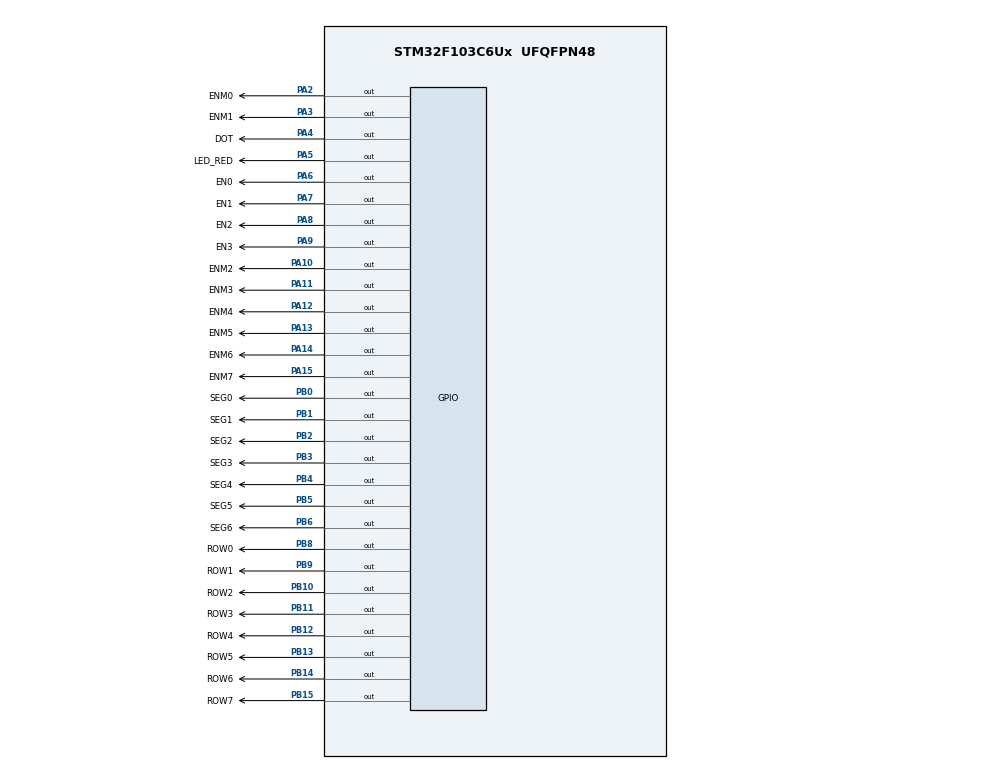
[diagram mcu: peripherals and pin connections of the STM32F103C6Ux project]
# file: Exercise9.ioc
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Mcu.Family=STM32F1
Mcu.Name=STM32F103C6Ux
Mcu.Package=UFQFPN48
NVIC.PriorityGroup=NVIC_PRIORITYGROUP_4
NVIC.TIM2_IRQn=true\:0\:0\:false\:false\:true\:true\:true
PA10.GPIO_Label=ENM2
PA10.Signal=GPIO_Output
PA11.GPIO_Label=ENM3
PA11.Signal=GPIO_Output
PA12.GPIO_Label=ENM4
PA12.Signal=GPIO_Output
PA13.GPIO_Label=ENM5
PA13.Signal=GPIO_Output
PA14.GPIO_Label=ENM6
PA14.Signal=GPIO_Output
PA15.GPIO_Label=ENM7
PA15.Signal=GPIO_Output
PA2.GPIO_Label=ENM0
PA2.Signal=GPIO_Output
PA3.GPIO_Label=ENM1
PA3.Signal=GPIO_Output
PA4.GPIO_Label=DOT
PA4.Signal=GPIO_Output
PA5.GPIO_Label=LED_RED
PA5.Signal=GPIO_Output
PA6.GPIO_Label=EN0
PA6.Signal=GPIO_Output
PA7.GPIO_Label=EN1
PA7.Signal=GPIO_Output
PA8.GPIO_Label=EN2
PA8.Signal=GPIO_Output
PA9.GPIO_Label=EN3
PA9.Signal=GPIO_Output
PB0.GPIO_Label=SEG0
PB0.Signal=GPIO_Output
PB1.GPIO_Label=SEG1
PB1.Signal=GPIO_Output
PB10.GPIO_Label=ROW2
PB10.Signal=GPIO_Output
PB11.GPIO_Label=ROW3
PB11.Signal=GPIO_Output
PB12.GPIO_Label=ROW4
PB12.Signal=GPIO_Output
PB13.GPIO_Label=ROW5
PB13.Signal=GPIO_Output
PB14.GPIO_Label=ROW6
PB14.Signal=GPIO_Output
PB15.GPIO_Label=ROW7
PB15.Signal=GPIO_Output
PB2.GPIO_Label=SEG2
PB2.Signal=GPIO_Output
PB3.GPIO_Label=SEG3
PB3.Signal=GPIO_Output
PB4.GPIO_Label=SEG4
PB4.Signal=GPIO_Output
PB5.GPIO_Label=SEG5
PB5.Signal=GPIO_Output
PB6.GPIO_Label=SEG6
PB6.Signal=GPIO_Output
PB8.GPIO_Label=ROW0
PB8.Signal=GPIO_Output
PB9.GPIO_Label=ROW1
PB9.Signal=GPIO_Output
ProjectManager.HeapSize=0x200
ProjectManager.StackSize=0x400
ProjectManager.TargetToolchain=STM32CubeIDE
RCC.APB1Freq_Value=8000000
RCC.APB2Freq_Value=8000000
TIM2.Period=9
TIM2.Prescaler=7999
VP_SYS_VS_ND.Mode=No_Debug
VP_TIM2_VS_ClockSourceINT.Mode=Internal
board=custom

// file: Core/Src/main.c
/* USER CODE BEGIN Header */
/**
  ******************************************************************************
  * @file           : main.c
  * @brief          : Main program body
  ******************************************************************************
  * @attention
  *
  * <h2><center>&copy; Copyright (c) 2025 STMicroelectronics.
  * All rights reserved.</center></h2>
  *
  * This software component is licensed by ST under BSD 3-Clause license,
  * the "License"; You may not use this file except in compliance with the
  * License. You may obtain a copy of the License at:
  *                        opensource.org/licenses/BSD-3-Clause
  *
  ******************************************************************************
  */
/* USER CODE END Header */
#include "main.h"

/* USER CODE BEGIN Includes */
#include "software_timer.h"
/* USER CODE END Includes */

TIM_HandleTypeDef htim2;

/* USER CODE BEGIN PV */
int segTable[10][7] = {
			{0,0,0,0,0,0,1},
			{1,0,0,1,1,1,1},
			{0,0,1,0,0,1,0},
			{0,0,0,0,1,1,0},
			{1,0,0,1,1,0,0},
			{0,1,0,0,1,0,0},
			{0,1,0,0,0,0,0},
			{0,0,0,1,1,1,1},
			{0,0,0,0,0,0,0},
			{0,0,0,0,1,0,0}
	};
const int MAX_LED = 4;
int index_led = 0;
int led_buffer[4] = {1 , 2 , 3 , 4};

const int MAX_LED_MATRIX = 8;
int index_led_matrix = 0;

uint8_t matrix_buffer[8] = {
  0x00, //00000000
  0x00, //01111100
  0x7C, //00010010
  0x12, //00010001
  0x11, //00010010
  0x12, //01111100
  0x7C, //00000000
  0x00  //00000000
};

//int scroll_offset = 0;

/* USER CODE END PV */

void SystemClock_Config(void);
static void MX_GPIO_Init(void);
static void MX_TIM2_Init(void);
/* USER CODE BEGIN PFP */
void display7SEG(int num);
void update7SEG (int index);
void updateClockBuffer(int hour, int minute);
void updateLEDMatrix (int index );
/* USER CODE END PFP */

int main(void)
{

  /* MCU Configuration--------------------------------------------------------*/

  /* Reset of all peripherals, Initializes the Flash interface and the Systick. */
  HAL_Init();

  /* Configure the system clock */
  SystemClock_Config();

  /* Initialize all configured peripherals */
  MX_GPIO_Init();
  MX_TIM2_Init();
  /* USER CODE BEGIN 2 */
  HAL_TIM_Base_Start_IT(&htim2);
  /* USER CODE END 2 */

  /* Infinite loop */
  /* USER CODE BEGIN WHILE */
  setTimer(0, 2);
  setTimer(1, 3);
  setTimer(2, 5);
  setTimer(3, 7);

  int hour = 15 , minute = 8 , second = 50;

  while (1)
  {
	if(isTimerExpired(0)){
		setTimer(0, 2);
		updateLEDMatrix(index_led_matrix);
		index_led_matrix = (index_led_matrix + 1) % MAX_LED_MATRIX;
	}

	if(isTimerExpired(1)){
		setTimer(1, 25);
		update7SEG(index_led);
		index_led = (index_led + 1) % MAX_LED;
	}

	if(isTimerExpired(2)){
		setTimer(2, 5);
		second ++;
		if ( second >= 60) {
				  second = 0;
				  minute ++;
			  }
			  if( minute >= 60) {
				  minute = 0;
				  hour ++;
			  }
			  if( hour >=24) {
			   	  hour = 0;
			  }
			  updateClockBuffer(hour, minute) ;
	}

	if(isTimerExpired(3)){
		setTimer(3, 100);
		HAL_GPIO_TogglePin(LED_RED_GPIO_Port, LED_RED_Pin);
		HAL_GPIO_TogglePin(DOT_GPIO_Port, DOT_Pin);
	}
    /* USER CODE END WHILE */

  }
}

void SystemClock_Config(void)
{
  RCC_OscInitTypeDef RCC_OscInitStruct = {0};
  RCC_ClkInitTypeDef RCC_ClkInitStruct = {0};

  /** Initializes the RCC Oscillators according to the specified parameters
  * in the RCC_OscInitTypeDef structure.
  */
  RCC_OscInitStruct.OscillatorType = RCC_OSCILLATORTYPE_HSI;
  RCC_OscInitStruct.HSIState = RCC_HSI_ON;
  RCC_OscInitStruct.HSICalibrationValue = RCC_HSICALIBRATION_DEFAULT;
  RCC_OscInitStruct.PLL.PLLState = RCC_PLL_NONE;
  if (HAL_RCC_OscConfig(&RCC_OscInitStruct) != HAL_OK)
  {
    Error_Handler();
  }
  /** Initializes the CPU, AHB and APB buses clocks
  */
  RCC_ClkInitStruct.ClockType = RCC_CLOCKTYPE_HCLK|RCC_CLOCKTYPE_SYSCLK
                              |RCC_CLOCKTYPE_PCLK1|RCC_CLOCKTYPE_PCLK2;
  RCC_ClkInitStruct.SYSCLKSource = RCC_SYSCLKSOURCE_HSI;
  RCC_ClkInitStruct.AHBCLKDivider = RCC_SYSCLK_DIV1;
  RCC_ClkInitStruct.APB1CLKDivider = RCC_HCLK_DIV1;
  RCC_ClkInitStruct.APB2CLKDivider = RCC_HCLK_DIV1;

  if (HAL_RCC_ClockConfig(&RCC_ClkInitStruct, FLASH_LATENCY_0) != HAL_OK)
  {
    Error_Handler();
  }
}

static void MX_TIM2_Init(void)
{

  TIM_ClockConfigTypeDef sClockSourceConfig = {0};
  TIM_MasterConfigTypeDef sMasterConfig = {0};

  htim2.Instance = TIM2;
  htim2.Init.Prescaler = 7999;
  htim2.Init.CounterMode = TIM_COUNTERMODE_UP;
  htim2.Init.Period = 9;
  htim2.Init.ClockDivision = TIM_CLOCKDIVISION_DIV1;
  htim2.Init.AutoReloadPreload = TIM_AUTORELOAD_PRELOAD_DISABLE;
  if (HAL_TIM_Base_Init(&htim2) != HAL_OK)
  {
    Error_Handler();
  }
  sClockSourceConfig.ClockSource = TIM_CLOCKSOURCE_INTERNAL;
  if (HAL_TIM_ConfigClockSource(&htim2, &sClockSourceConfig) != HAL_OK)
  {
    Error_Handler();
  }
  sMasterConfig.MasterOutputTrigger = TIM_TRGO_RESET;
  sMasterConfig.MasterSlaveMode = TIM_MASTERSLAVEMODE_DISABLE;
  if (HAL_TIMEx_MasterConfigSynchronization(&htim2, &sMasterConfig) != HAL_OK)
  {
    Error_Handler();
  }

}

static void MX_GPIO_Init(void)
{
  GPIO_InitTypeDef GPIO_InitStruct = {0};

  /* GPIO Ports Clock Enable */
  __HAL_RCC_GPIOA_CLK_ENABLE();
  __HAL_RCC_GPIOB_CLK_ENABLE();

  /*Configure GPIO pin Output Level */
  HAL_GPIO_WritePin(GPIOA, ENM0_Pin|ENM1_Pin|DOT_Pin|LED_RED_Pin
                          |EN0_Pin|EN1_Pin|EN2_Pin|EN3_Pin
                          |ENM2_Pin|ENM3_Pin|ENM4_Pin|ENM5_Pin
                          |ENM6_Pin|ENM7_Pin, GPIO_PIN_RESET);

  /*Configure GPIO pin Output Level */
  HAL_GPIO_WritePin(GPIOB, SEG0_Pin|SEG1_Pin|SEG2_Pin|ROW2_Pin
                          |ROW3_Pin|ROW4_Pin|ROW5_Pin|ROW6_Pin
                          |ROW7_Pin|SEG3_Pin|SEG4_Pin|SEG5_Pin
                          |SEG6_Pin|ROW0_Pin|ROW1_Pin, GPIO_PIN_RESET);

  /*Configure GPIO pins : ENM0_Pin ENM1_Pin DOT_Pin LED_RED_Pin
                           EN0_Pin EN1_Pin EN2_Pin EN3_Pin
                           ENM2_Pin ENM3_Pin ENM4_Pin ENM5_Pin
                           ENM6_Pin ENM7_Pin */
  GPIO_InitStruct.Pin = ENM0_Pin|ENM1_Pin|DOT_Pin|LED_RED_Pin
                          |EN0_Pin|EN1_Pin|EN2_Pin|EN3_Pin
                          |ENM2_Pin|ENM3_Pin|ENM4_Pin|ENM5_Pin
                          |ENM6_Pin|ENM7_Pin;
  GPIO_InitStruct.Mode = GPIO_MODE_OUTPUT_PP;
  GPIO_InitStruct.Pull = GPIO_NOPULL;
  GPIO_InitStruct.Speed = GPIO_SPEED_FREQ_LOW;
  HAL_GPIO_Init(GPIOA, &GPIO_InitStruct);

  /*Configure GPIO pins : SEG0_Pin SEG1_Pin SEG2_Pin ROW2_Pin
                           ROW3_Pin ROW4_Pin ROW5_Pin ROW6_Pin
                           ROW7_Pin SEG3_Pin SEG4_Pin SEG5_Pin
                           SEG6_Pin ROW0_Pin ROW1_Pin */
  GPIO_InitStruct.Pin = SEG0_Pin|SEG1_Pin|SEG2_Pin|ROW2_Pin
                          |ROW3_Pin|ROW4_Pin|ROW5_Pin|ROW6_Pin
                          |ROW7_Pin|SEG3_Pin|SEG4_Pin|SEG5_Pin
                          |SEG6_Pin|ROW0_Pin|ROW1_Pin;
  GPIO_InitStruct.Mode = GPIO_MODE_OUTPUT_PP;
  GPIO_InitStruct.Pull = GPIO_NOPULL;
  GPIO_InitStruct.Speed = GPIO_SPEED_FREQ_LOW;
  HAL_GPIO_Init(GPIOB, &GPIO_InitStruct);

}

/* USER CODE BEGIN 4 */
void HAL_TIM_PeriodElapsedCallback(TIM_HandleTypeDef *htim){
	timerRun();
}

void display7SEG(int num){
	if(num < 0 || num > 9) return;
	    HAL_GPIO_WritePin(SEG0_GPIO_Port, SEG0_Pin, segTable[num][0]);
	    HAL_GPIO_WritePin(SEG1_GPIO_Port, SEG1_Pin, segTable[num][1]);
	    HAL_GPIO_WritePin(SEG2_GPIO_Port, SEG2_Pin, segTable[num][2]);
	    HAL_GPIO_WritePin(SEG3_GPIO_Port, SEG3_Pin, segTable[num][3]);
	    HAL_GPIO_WritePin(SEG4_GPIO_Port, SEG4_Pin, segTable[num][4]);
	    HAL_GPIO_WritePin(SEG5_GPIO_Port, SEG5_Pin, segTable[num][5]);
	    HAL_GPIO_WritePin(SEG6_GPIO_Port, SEG6_Pin, segTable[num][6]);
}

void update7SEG (int index) {
	switch (index) {
	case 0:
		display7SEG(led_buffer[0]);
		HAL_GPIO_WritePin(GPIOA, EN3_Pin|EN1_Pin|EN2_Pin, GPIO_PIN_SET);
		HAL_GPIO_WritePin(EN0_GPIO_Port, EN0_Pin, GPIO_PIN_RESET);
		break;
	case 1:
		display7SEG(led_buffer[1]);
		HAL_GPIO_WritePin(GPIOA, EN0_Pin|EN3_Pin|EN2_Pin, GPIO_PIN_SET);
		HAL_GPIO_WritePin(EN1_GPIO_Port, EN1_Pin, GPIO_PIN_RESET);
		break;
	case 2:
		display7SEG(led_buffer[2]);
		HAL_GPIO_WritePin(GPIOA, EN0_Pin|EN1_Pin|EN3_Pin, GPIO_PIN_SET);
		HAL_GPIO_WritePin(EN2_GPIO_Port, EN2_Pin, GPIO_PIN_RESET);
		break;
	case 3:
		display7SEG(led_buffer[3]);
		HAL_GPIO_WritePin(GPIOA, EN0_Pin|EN1_Pin|EN2_Pin, GPIO_PIN_SET);
		HAL_GPIO_WritePin(EN3_GPIO_Port, EN3_Pin, GPIO_PIN_RESET);
		break;
	default:
		break;
	}
}

void updateClockBuffer(int hour, int minute){
	led_buffer[1] = hour % 10;
	led_buffer[0] = hour / 10;
	led_buffer[3] = minute % 10;
	led_buffer[2] = minute / 10;
}

void updateLEDMatrix(int index) {
    HAL_GPIO_WritePin(GPIOA,
        ENM0_Pin|ENM1_Pin|ENM2_Pin|ENM3_Pin|
        ENM4_Pin|ENM5_Pin|ENM6_Pin|ENM7_Pin,
        GPIO_PIN_SET);

    uint8_t col = matrix_buffer[index];

    HAL_GPIO_WritePin(ROW0_GPIO_Port, ROW0_Pin, (col & 0x01) ? GPIO_PIN_RESET : GPIO_PIN_SET);
    HAL_GPIO_WritePin(ROW1_GPIO_Port, ROW1_Pin, (col & 0x02) ? GPIO_PIN_RESET : GPIO_PIN_SET);
    HAL_GPIO_WritePin(ROW2_GPIO_Port, ROW2_Pin, (col & 0x04) ? GPIO_PIN_RESET : GPIO_PIN_SET);
    HAL_GPIO_WritePin(ROW3_GPIO_Port, ROW3_Pin, (col & 0x08) ? GPIO_PIN_RESET : GPIO_PIN_SET);
    HAL_GPIO_WritePin(ROW4_GPIO_Port, ROW4_Pin, (col & 0x10) ? GPIO_PIN_RESET : GPIO_PIN_SET);
    HAL_GPIO_WritePin(ROW5_GPIO_Port, ROW5_Pin, (col & 0x20) ? GPIO_PIN_RESET : GPIO_PIN_SET);
    HAL_GPIO_WritePin(ROW6_GPIO_Port, ROW6_Pin, (col & 0x40) ? GPIO_PIN_RESET : GPIO_PIN_SET);
    HAL_GPIO_WritePin(ROW7_GPIO_Port, ROW7_Pin, (col & 0x80) ? GPIO_PIN_RESET : GPIO_PIN_SET);

    switch (index) {
        case 0: HAL_GPIO_WritePin(ENM0_GPIO_Port, ENM0_Pin, GPIO_PIN_RESET); break;
        case 1: HAL_GPIO_WritePin(ENM1_GPIO_Port, ENM1_Pin, GPIO_PIN_RESET); break;
        case 2: HAL_GPIO_WritePin(ENM2_GPIO_Port, ENM2_Pin, GPIO_PIN_RESET); break;
        case 3: HAL_GPIO_WritePin(ENM3_GPIO_Port, ENM3_Pin, GPIO_PIN_RESET); break;
        case 4: HAL_GPIO_WritePin(ENM4_GPIO_Port, ENM4_Pin, GPIO_PIN_RESET); break;
        case 5: HAL_GPIO_WritePin(ENM5_GPIO_Port, ENM5_Pin, GPIO_PIN_RESET); break;
        case 6: HAL_GPIO_WritePin(ENM6_GPIO_Port, ENM6_Pin, GPIO_PIN_RESET); break;
        case 7: HAL_GPIO_WritePin(ENM7_GPIO_Port, ENM7_Pin, GPIO_PIN_RESET); break;
        default: break;
    }
}

/* USER CODE END 4 */

void Error_Handler(void)
{
  __disable_irq();
  while (1)
  {
  }
}

/************************ (C) COPYRIGHT STMicroelectronics *****END OF FILE****/
